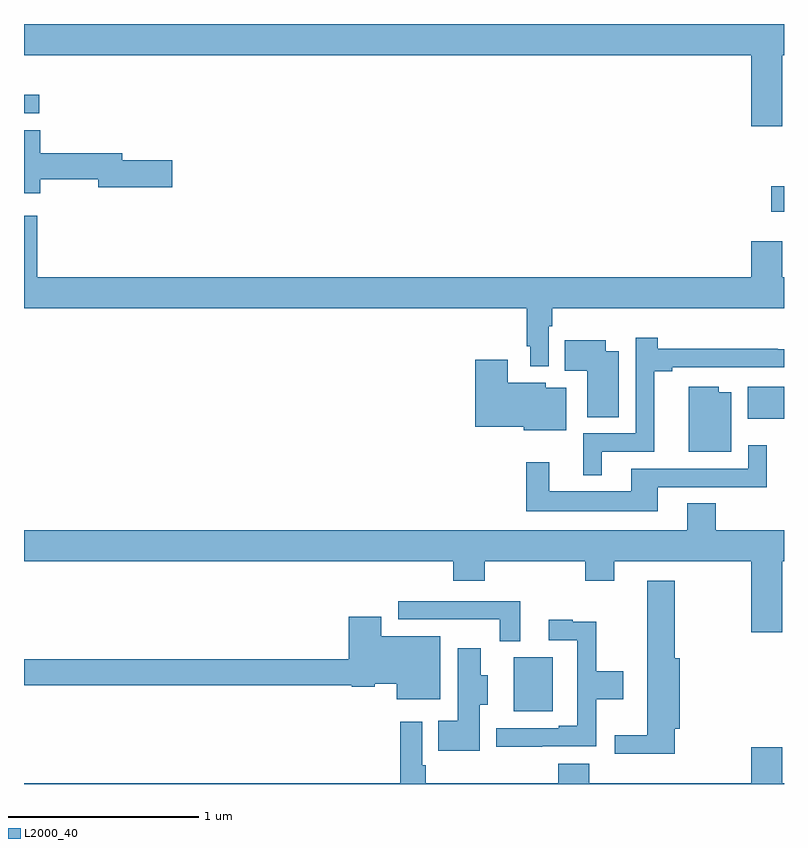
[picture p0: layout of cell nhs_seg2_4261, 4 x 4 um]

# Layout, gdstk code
import gdstk
lib = gdstk.Library(unit=1e-6, precision=1e-09)
def R(c, l, rs):  # rectangles x0, y0, x1, y1
    for r in rs: c.add(gdstk.rectangle(r[:2], r[2:], *l))
def P(c, l, *ps):  # polygons
    for p in ps: c.add(gdstk.Polygon(p, *l))
L2000_40 = (2000, 40)

nhs_seg2_4261 = lib.new_cell('nhs_seg2_4261')
R(nhs_seg2_4261, L2000_40, [(343.577,644.183,343.783,644.467), (344.81,645.722,345,645.892), (344.934,646.811,345,646.946), (341,647.331,341.08,647.427)])
P(nhs_seg2_4261, L2000_40, [(344.992,647.636),(345,647.636),(345,647.8),(341,647.8),(341,647.636),(344.828,647.636),(344.828,647.262),(344.992,647.262)],
  [(341.086,646.984),(341.39,646.984),(341.39,646.942),(341.779,646.942),(341.779,647.084),(341.518,647.084),(341.518,647.12),(341.086,647.12),(341.086,647.242),(341,647.242),(341,646.91),(341.086,646.91)],
  [(343.761,646.208),(343.781,646.208),(343.781,646.304),(345,646.304),(345,646.468),(344.992,646.468),(344.992,646.657),(344.828,646.657),(344.828,646.468),(341.069,646.468),(341.069,646.792),(341,646.792),(341,646.304),(343.645,646.304),(343.645,646.105),(343.665,646.105),(343.665,645.998),(343.761,645.998)],
  [(344.041,645.549),(344.318,645.549),(344.318,645.973),(344.413,645.973),(344.413,645.993),(345,645.993),(345,646.089),(344.966,646.089),(344.966,646.091),(344.336,646.091),(344.336,646.15),(344.22,646.15),(344.22,645.645),(343.943,645.645),(343.943,645.425),(344.041,645.425)],
  [(344.131,646.078),(344.062,646.078),(344.062,646.135),(343.846,646.135),(343.846,645.974),(343.964,645.974),(343.964,645.73),(344.131,645.73)],
  [(343.855,645.886),(343.746,645.886),(343.746,645.913),(343.546,645.913),(343.546,646.033),(343.376,646.033),(343.376,645.68),(343.629,645.68),(343.629,645.662),(343.855,645.662)],
  [(344.722,645.862),(344.656,645.862),(344.656,645.892),(344.498,645.892),(344.498,645.548),(344.722,645.548)],
  [(344.335,645.363),(344.909,645.363),(344.909,645.583),(344.811,645.583),(344.811,645.459),(344.195,645.459),(344.195,645.34),(343.765,645.34),(343.765,645.493),(343.644,645.493),(343.644,645.236),(344.335,645.236)],
  [(344.992,644.972),(345,644.972),(345,645.136),(344.64,645.136),(344.64,645.278),(344.492,645.278),(344.492,645.136),(341,645.136),(341,644.972),(343.259,644.972),(343.259,644.87),(343.424,644.87),(343.424,644.972),(343.955,644.972),(343.955,644.87),(344.107,644.87),(344.107,644.972),(344.828,644.972),(344.828,644.598),(344.992,644.598)],
  [(344.424,644.091),(344.45,644.091),(344.45,644.463),(344.424,644.463),(344.424,644.869),(344.279,644.869),(344.279,644.057),(344.109,644.057),(344.109,643.958),(344.424,643.958)],
  [(343.612,644.763),(342.969,644.763),(342.969,644.667),(343.288,644.667),(343.288,644.666),(343.503,644.666),(343.503,644.552),(343.612,644.552)],
  [(343.192,644.578),(342.88,644.578),(342.88,644.68),(342.71,644.68),(342.71,644.456),(341,644.456),(341,644.32),(342.726,644.32),(342.726,644.312),(342.846,644.312),(342.846,644.327),(342.962,644.327),(342.962,644.246),(343.192,644.246)],
  [(343.727,643.998),(344.012,643.998),(344.012,644.246),(344.155,644.246),(344.155,644.394),(344.012,644.394),(344.012,644.654),(343.889,644.654),(343.889,644.665),(343.761,644.665),(343.761,644.556),(343.911,644.556),(343.911,644.107),(343.814,644.107),(343.814,644.094),(343.485,644.094),(343.485,643.997),(343.727,643.997)],
  [(343.399,644.218),(343.441,644.218),(343.441,644.373),(343.405,644.373),(343.405,644.515),(343.283,644.515),(343.283,644.134),(343.18,644.134),(343.18,643.976),(343.399,643.976)],
  [(342.979,644.128),(342.979,643.804),(341,643.804),(341,643.8),(345,643.8),(345,643.804),(344.992,643.804),(344.992,643.993),(344.828,643.993),(344.828,643.804),(343.976,643.804),(343.976,643.906),(343.811,643.906),(343.811,643.804),(343.115,643.804),(343.115,643.9),(343.095,643.9),(343.095,644.128)])

lib.write_gds('nhs_seg2_4261.gds')
